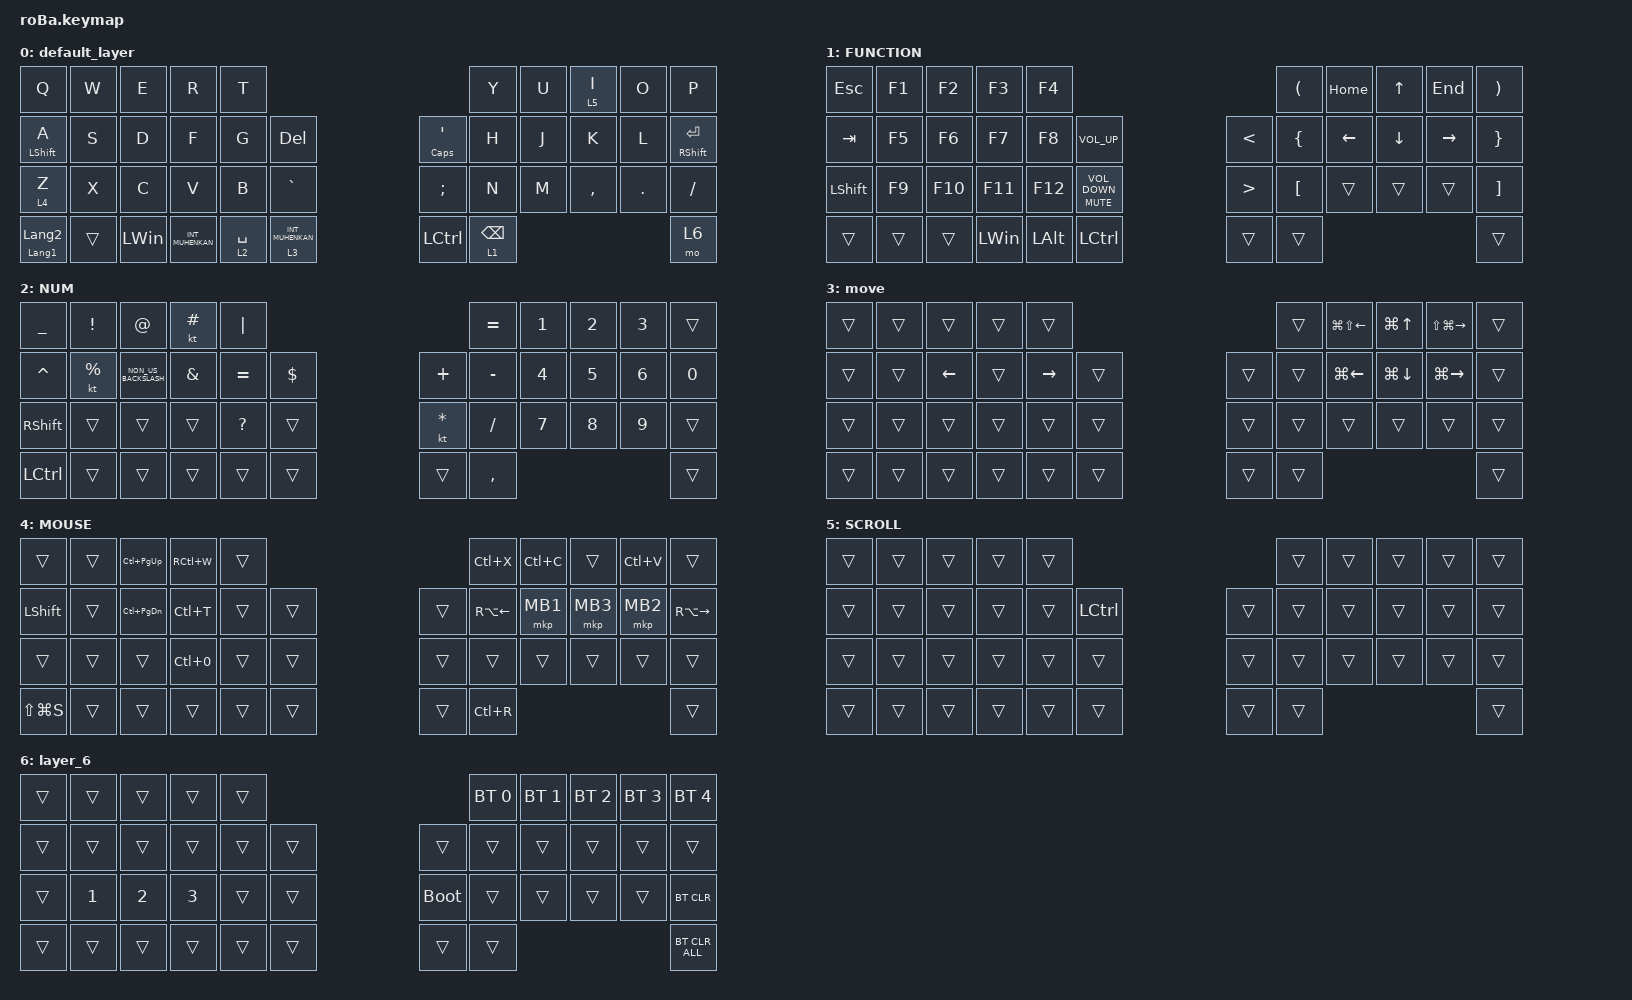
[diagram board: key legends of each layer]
#include <behaviors.dtsi>
#include <dt-bindings/zmk/bt.h>
#include <dt-bindings/zmk/keys.h>
#include <dt-bindings/zmk/pointing.h>

&mt {
    flavor = "balanced";
    quick-tap-ms = <0>;
};

&trackball {
    // automouse-layer = <4>;

    scroll-layers = <5>;

    // arrows {
    //     layers = <3>;
    //     bindings =
    //         <&kp RIGHT_ARROW>,
    //         <&kp LEFT_ARROW>,
    //         <&kp UP_ARROW>,
    //         <&kp DOWN_ARROW>;
    //     tick = <10>;
    //     wait-ms = <5>;
    //     tap-ms = <5>;
    // };
};

/ {
    combos {
        compatible = "zmk,combos";

        tab {
            bindings = <&kp TAB>;
            key-positions = <11 12>;
        };

        shift_tab {
            bindings = <&kp LS(TAB)>;
            key-positions = <12 13>;
        };

        muhennkann {
            bindings = <&to_layer_0 INT_MUHENKAN>;
            key-positions = <11 10>;
        };

        double_quotation {
            bindings = <&kp DOUBLE_QUOTES>;
            key-positions = <20 21>;
        };

        eq {
            bindings = <&kp EQUAL>;
            key-positions = <24 25>;
        };
    };

    macros {
        to_layer_0: to_layer_0 {
            compatible = "zmk,behavior-macro-one-param";
            #binding-cells = <1>;
            bindings = <&to 0 &macro_param_1to1 &kp MACRO_PLACEHOLDER>;
            label = "TO_LAYER_0";
        };
    };

    behaviors {
        lt_to_layer_0: lt_to_layer_0 {
            compatible = "zmk,behavior-hold-tap";
            label = "LAYER_TAP_TO_0";
            bindings = <&mo>, <&to_layer_0>;

            #binding-cells = <2>;
            tapping-term-ms = <200>;
        };
    };

    keymap {
        compatible = "zmk,keymap";

        default_layer {
            bindings = <
&kp Q                      &kp W   &kp E     &kp R             &kp T                                                             &kp Y            &kp U  &lt 5 I    &kp O    &kp P
&mt LEFT_SHIFT A           &kp S   &kp D     &kp F             &kp G        &kp DELETE                         &mt CAPS SQT      &kp H            &kp J  &kp K      &kp L    &mt RIGHT_SHIFT ENTER
&lt 4 Z                    &kp X   &kp C     &kp V             &kp B        &kp GRAVE                          &kp SEMICOLON     &kp N            &kp M  &kp COMMA  &kp DOT  &kp SLASH
&mt LANGUAGE_1 LANGUAGE_2  &trans  &kp LWIN  &kp INT_MUHENKAN  &lt 2 SPACE  &lt_to_layer_0 3 INT_MUHENKAN      &kp LEFT_CONTROL  &lt 1 BACKSPACE                             &mo 6
            >;
        };

        FUNCTION {
            bindings = <
&kp ESCAPE      &kp F1  &kp F2   &kp F3        &kp F4                                                        &kp LEFT_PARENTHESIS  &kp HOME  &kp UP_ARROW    &kp END    &kp RIGHT_PARENTHESIS
&kp TAB         &kp F5  &kp F6   &kp F7        &kp F8        &kp C_VOLUME_UP               &kp LESS_THAN     &kp LEFT_BRACE        &kp LEFT  &kp DOWN_ARROW  &kp RIGHT  &kp RIGHT_BRACE
&kp LEFT_SHIFT  &kp F9  &kp F10  &kp F11       &kp F12       &mt K_MUTE C_VOLUME_DOWN      &kp GREATER_THAN  &kp LEFT_BRACKET      &trans    &trans          &trans     &kp RIGHT_BRACKET
&trans          &trans  &trans   &kp LEFT_WIN  &kp LEFT_ALT  &kp LEFT_CONTROL              &trans            &trans                                                     &trans
            >;
        };

        NUM {
            bindings = <
&kp UNDERSCORE    &kp EXCLAMATION  &kp AT_SIGN           &kt HASH       &kp PIPE                                    &kp EQUAL  &kp NUMBER_1  &kp NUMBER_2  &kp NUMBER_3  &trans
&kp CARET         &kt PERCENT      &kp NON_US_BACKSLASH  &kp AMPERSAND  &kp EQUAL     &kp DOLLAR      &kp PLUS      &kp MINUS  &kp NUMBER_4  &kp NUMBER_5  &kp NUMBER_6  &kp N0
&kp RIGHT_SHIFT   &trans           &trans                &trans         &kp QUESTION  &trans          &kt ASTERISK  &kp SLASH  &kp NUMBER_7  &kp NUMBER_8  &kp NUMBER_9  &trans
&kp LEFT_CONTROL  &trans           &trans                &trans         &trans        &trans          &trans        &kp COMMA                                            &trans
            >;
        };

        move {
            bindings = <
&trans  &trans  &trans    &trans  &trans                         &trans  &kp LG(LS(LEFT))  &kp LG(UP_ARROW)    &kp LS(LG(RIGHT))  &trans
&trans  &trans  &kp LEFT  &trans  &kp RIGHT  &trans      &trans  &trans  &kp LG(LEFT)      &kp LG(DOWN_ARROW)  &kp LG(RIGHT)      &trans
&trans  &trans  &trans    &trans  &trans     &trans      &trans  &trans  &trans            &trans              &trans             &trans
&trans  &trans  &trans    &trans  &trans     &trans      &trans  &trans                                                           &trans
            >;
        };

        MOUSE {
            bindings = <
&trans          &trans  &kp LC(PAGE_UP)    &kp RC(W)   &trans                      &kp LC(X)           &kp LC(C)  &trans    &kp LC(V)  &trans
&kp LEFT_SHIFT  &trans  &kp LC(PAGE_DOWN)  &kp LC(T)   &trans  &trans      &trans  &kp RA(LEFT_ARROW)  &mkp MB1   &mkp MB3  &mkp MB2   &kp RA(RIGHT_ARROW)
&trans          &trans  &trans             &kp LC(N0)  &trans  &trans      &trans  &trans              &trans     &trans    &trans     &trans
&kp LS(LG(S))   &trans  &trans             &trans      &trans  &trans      &trans  &kp LC(R)                                           &trans
            >;
        };

        SCROLL {
            bindings = <
&trans  &trans  &trans  &trans  &trans                                &trans  &trans  &trans  &trans  &trans
&trans  &trans  &trans  &trans  &trans  &kp LEFT_CONTROL      &trans  &trans  &trans  &trans  &trans  &trans
&trans  &trans  &trans  &trans  &trans  &trans                &trans  &trans  &trans  &trans  &trans  &trans
&trans  &trans  &trans  &trans  &trans  &trans                &trans  &trans                          &trans
            >;
        };

        layer_6 {
            bindings = <
&trans  &trans        &trans        &trans        &trans                           &bt BT_SEL 0  &bt BT_SEL 1  &bt BT_SEL 2  &bt BT_SEL 3  &bt BT_SEL 4
&trans  &trans        &trans        &trans        &trans  &trans      &trans       &trans        &trans        &trans        &trans        &trans
&trans  &kp NUMBER_1  &kp NUMBER_2  &kp NUMBER_3  &trans  &trans      &bootloader  &trans        &trans        &trans        &trans        &bt BT_CLR
&trans  &trans        &trans        &trans        &trans  &trans      &trans       &trans                                                  &bt BT_CLR_ALL
            >;
        };
    };
};
